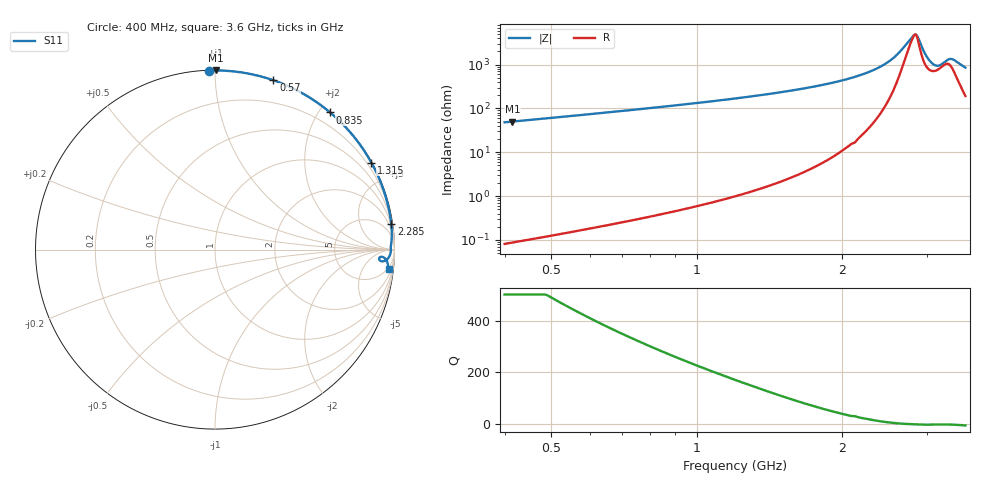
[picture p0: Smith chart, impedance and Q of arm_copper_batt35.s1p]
! arm_copper_batt35
! simulated by sim/rf_fdtd.py
# HZ S RI R 50
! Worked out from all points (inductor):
!   641 points, 400 MHz to 3.6 GHz, reference 50 ohm
!   read as one part to ground: L = 18.8 nH near 415 MHz
!   highest Q = 578 at 415 MHz (marker M1), where L = 19.3 nH
!   self-resonance near 2.834 GHz
!   S11 on the Smith chart (normalised r, x): 400 MHz: 0.00, +0.97; 570 MHz: 0.00, +1.40; 835 MHz: 0.01, +2.14; 1.315 GHz: 0.03, +3.85; 2.285 GHz: 1, +14; 3.6 GHz: 4, -17
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4e8  -0.0336 0.9978
4.15e8  0.00443 0.9983
4.9e8  0.1757 0.9824
5.7e8  0.3254 0.9433
6.25e8  0.411 0.9091
6.8e8  0.4844 0.872
7.4e8  0.5529 0.8302
8e8  0.6111 0.7883
8.35e8  0.6409 0.7641
9.15e8  0.6998 0.7104
1e9  0.7506 0.6564
1.095e9  0.7962 0.6
1.2e9  0.8363 0.5425
1.315e9  0.8707 0.4849
1.45e9  0.9018 0.4237
1.6e9  0.9277 0.3625
2e9  0.9687 0.2248
2.285e9  0.9821 0.1412
2.4e9  0.9846 0.1094
2.8e9  0.9793 0.00874
2.925e9  0.975 -0.0301
3.045e9  0.9465 -0.0623
3.135e9  0.9189 -0.0607
3.2e9  0.9153 -0.0466
3.26e9  0.9264 -0.0399
3.325e9  0.9422 -0.0448
3.43e9  0.9594 -0.0684
3.6e9  0.968 -0.1104
